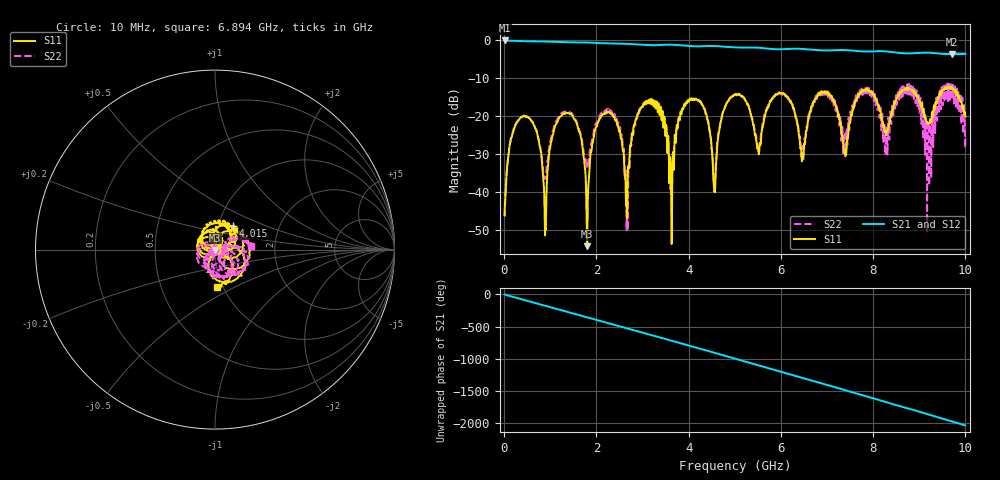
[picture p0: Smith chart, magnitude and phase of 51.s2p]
!Keysight Technologies,E5080B,MY59205177,A.15.75.32
!Date: Friday, February 23, 2024 03:30:28
!Correction: S11(Cdelta 2-Port  )
!S21(Cdelta 2-Port  )
!S12(Cdelta 2-Port  )
!S22(Cdelta 2-Port  )
!S2P File: Measurements: S11, S21, S12, S22:
# Hz S  dB  R 50
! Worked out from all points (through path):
!   10001 points, 10 MHz to 10 GHz, reference 50 ohm
!   highest |S21| = -0.02 dB at 10 MHz (marker M1); lowest = -3.7 dB at 9.701 GHz (marker M2)
!   group delay of S21, straight-line fit = 565 ps
!   lowest |S11| = -54.2 dB at 1.801 GHz (marker M3), VSWR 1.00, Z = 50.1 - j0.184 ohm
!   |S11| at or under -10 dB: start of sweep to end of sweep
!   |S22| runs from -50.9 to -11.1 dB; largest |S21 - S12| = 0.0015
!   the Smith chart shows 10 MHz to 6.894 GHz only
!   S11 on the Smith chart (normalised r, x): 10 MHz: 1.01, -0.00; 4.015 GHz: 1.18, +0.32; 6.894 GHz: 0.94, -0.41
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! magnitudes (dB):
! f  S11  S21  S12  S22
! 10 MHz  -46.0  0.0  0.0  -46.1
! 373.6 MHz  -20.2  -0.2  -0.2  -20.1
! 888.1 MHz  -50.7  -0.3  -0.3  -36.3
! 1.181 GHz  -20.7  -0.4  -0.4  -20.1
! 1.675 GHz  -26.0  -0.5  -0.5  -25.4
! 1.801 GHz  -54.2  -0.6  -0.6  -32.7
! 2.11 GHz  -19.9  -0.7  -0.7  -19.0
! 2.662 GHz  -46.6  -0.9  -0.9  -44.1
! 2.906 GHz  -19.3  -1.1  -1.1  -18.9
! 3.341 GHz  -17.5  -1.2  -1.2  -17.7
! 3.626 GHz  -44.9  -1.1  -1.1  -41.4
! 4.015 GHz  -15.6  -1.5  -1.5  -15.6
! 4.561 GHz  -39.6  -1.5  -1.5  -38.7
! 5.005 GHz  -14.1  -1.8  -1.8  -14.5
! 5.517 GHz  -29.8  -1.9  -1.9  -28.7
! 6.67 GHz  -17.3  -2.4  -2.4  -16.9
! 6.894 GHz  -13.6  -2.6  -2.6  -14.3
! 7.384 GHz  -29.7  -2.6  -2.6  -25.8
! 7.796 GHz  -13.1  -2.9  -2.9  -12.8
! 8.336 GHz  -22.7  -3.0  -3.0  -20.8
! 9.701 GHz  -12.2  -3.7  -3.7  -13.8
! 10 GHz  -20.1  -3.6  -3.6  -25.8
